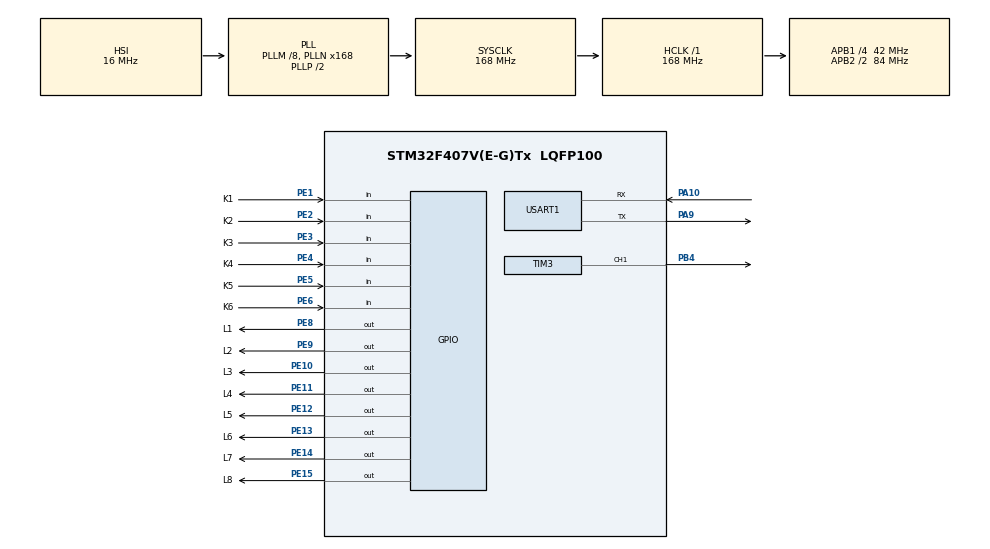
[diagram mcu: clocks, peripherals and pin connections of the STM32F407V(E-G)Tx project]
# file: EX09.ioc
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Mcu.Family=STM32F4
Mcu.Name=STM32F407V(E-G)Tx
Mcu.Package=LQFP100
NVIC.PriorityGroup=NVIC_PRIORITYGROUP_4
NVIC.USART1_IRQn=true\:0\:0\:false\:false\:true\:true\:true
PA10.Mode=Asynchronous
PA10.Signal=USART1_RX
PA13.Mode=Serial_Wire
PA13.Signal=SYS_JTMS-SWDIO
PA14.Mode=Serial_Wire
PA14.Signal=SYS_JTCK-SWCLK
PA9.Mode=Asynchronous
PA9.Signal=USART1_TX
PB4.Signal=S_TIM3_CH1
PE1.GPIO_Label=K1
PE1.Signal=GPIO_Input
PE10.GPIO_Label=L3
PE10.GPIO_ModeDefaultOutputPP=GPIO_MODE_OUTPUT_PP
PE10.GPIO_PuPd=GPIO_NOPULL
PE10.GPIO_Speed=GPIO_SPEED_FREQ_LOW
PE10.PinState=GPIO_PIN_SET
PE10.Signal=GPIO_Output
PE11.GPIO_Label=L4
PE11.GPIO_ModeDefaultOutputPP=GPIO_MODE_OUTPUT_PP
PE11.GPIO_PuPd=GPIO_NOPULL
PE11.GPIO_Speed=GPIO_SPEED_FREQ_LOW
PE11.PinState=GPIO_PIN_SET
PE11.Signal=GPIO_Output
PE12.GPIO_Label=L5
PE12.GPIO_ModeDefaultOutputPP=GPIO_MODE_OUTPUT_PP
PE12.GPIO_PuPd=GPIO_NOPULL
PE12.GPIO_Speed=GPIO_SPEED_FREQ_LOW
PE12.PinState=GPIO_PIN_SET
PE12.Signal=GPIO_Output
PE13.GPIO_Label=L6
PE13.GPIO_ModeDefaultOutputPP=GPIO_MODE_OUTPUT_PP
PE13.GPIO_PuPd=GPIO_NOPULL
PE13.GPIO_Speed=GPIO_SPEED_FREQ_LOW
PE13.PinState=GPIO_PIN_SET
PE13.Signal=GPIO_Output
PE14.GPIO_Label=L7
PE14.GPIO_ModeDefaultOutputPP=GPIO_MODE_OUTPUT_PP
PE14.GPIO_PuPd=GPIO_NOPULL
PE14.GPIO_Speed=GPIO_SPEED_FREQ_LOW
PE14.PinState=GPIO_PIN_SET
PE14.Signal=GPIO_Output
PE15.GPIO_Label=L8
PE15.GPIO_ModeDefaultOutputPP=GPIO_MODE_OUTPUT_PP
PE15.GPIO_PuPd=GPIO_NOPULL
PE15.GPIO_Speed=GPIO_SPEED_FREQ_LOW
PE15.PinState=GPIO_PIN_SET
PE15.Signal=GPIO_Output
PE2.GPIO_Label=K2
PE2.GPIO_PuPd=GPIO_PULLUP
PE2.Signal=GPIO_Input
PE3.GPIO_Label=K3
PE3.GPIO_PuPd=GPIO_PULLUP
PE3.Signal=GPIO_Input
PE4.GPIO_Label=K4
PE4.Signal=GPIO_Input
PE5.GPIO_Label=K5
PE5.GPIO_PuPd=GPIO_PULLDOWN
PE5.Signal=GPIO_Input
PE6.GPIO_Label=K6
PE6.GPIO_PuPd=GPIO_PULLDOWN
PE6.Signal=GPIO_Input
PE8.GPIO_Label=L1
PE8.GPIO_ModeDefaultOutputPP=GPIO_MODE_OUTPUT_PP
PE8.GPIO_PuPd=GPIO_NOPULL
PE8.GPIO_Speed=GPIO_SPEED_FREQ_LOW
PE8.PinState=GPIO_PIN_SET
PE8.Signal=GPIO_Output
PE9.GPIO_Label=L2
PE9.GPIO_ModeDefaultOutputPP=GPIO_MODE_OUTPUT_PP
PE9.GPIO_PuPd=GPIO_NOPULL
PE9.GPIO_Speed=GPIO_SPEED_FREQ_LOW
PE9.PinState=GPIO_PIN_SET
PE9.Signal=GPIO_Output
PH0-OSC_IN.Mode=HSE-External-Oscillator
PH0-OSC_IN.Signal=RCC_OSC_IN
PH1-OSC_OUT.Mode=HSE-External-Oscillator
PH1-OSC_OUT.Signal=RCC_OSC_OUT
ProjectManager.HeapSize=0x200
ProjectManager.StackSize=0x400
ProjectManager.TargetToolchain=MDK-ARM V5.27
RCC.48MHZClocksFreq_Value=84000000
RCC.AHBFreq_Value=168000000
RCC.APB1CLKDivider=RCC_HCLK_DIV4
RCC.APB1Freq_Value=42000000
RCC.APB1TimFreq_Value=84000000
RCC.APB2CLKDivider=RCC_HCLK_DIV2
RCC.APB2Freq_Value=84000000
RCC.APB2TimFreq_Value=168000000
RCC.CortexFreq_Value=168000000
RCC.HCLKFreq_Value=168000000
RCC.HSE_VALUE=25000000
RCC.HSI_VALUE=16000000
RCC.PLLM=8
RCC.PLLN=168
RCC.SYSCLKFreq_VALUE=168000000
RCC.SYSCLKSource=RCC_SYSCLKSOURCE_PLLCLK
RCC.VCOOutputFreq_Value=336000000
SH.S_TIM3_CH1.0=TIM3_CH1,PWM Generation1 CH1
TIM3.AutoReloadPreload=TIM_AUTORELOAD_PRELOAD_DISABLE
TIM3.Channel-PWM\ Generation1\ CH1=TIM_CHANNEL_1
TIM3.Period=2000-1
TIM3.Prescaler=168-1
TIM3.Pulse-PWM\ Generation1\ CH1=1000
USART1.VirtualMode=VM_ASYNC
VP_TIM3_VS_ClockSourceINT.Mode=Internal
board=custom

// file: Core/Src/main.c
/* USER CODE BEGIN Header */
/**
  ******************************************************************************
  * @file           : main.c
  * @brief          : Main program body
  ******************************************************************************
  * @attention
  *
  * Copyright (c) 2021 STMicroelectronics.
  * All rights reserved.
  *
  * This software is licensed under terms that can be found in the LICENSE file
  * in the root directory of this software component.
  * If no LICENSE file comes with this software, it is provided AS-IS.
  *
  ******************************************************************************
  */
/* USER CODE END Header */
#include "main.h"
#include "tim.h"
#include "usart.h"
#include "gpio.h"

/* USER CODE BEGIN Includes */
#include "led.h"
#include "InFlash.h"
/* USER CODE END Includes */

/* USER CODE BEGIN PD */
#include <stdio.h>
int fputc(int ch, FILE *f)
{
	// 向串口 1 发送一个字符
	HAL_UART_Transmit(&huart1, (uint8_t *)&ch, 1, 100);
	return 0;
}

/* USER CODE END PD */

void SystemClock_Config(void);

int main(void)
{

  /* MCU Configuration--------------------------------------------------------*/

  /* Reset of all peripherals, Initializes the Flash interface and the Systick. */
  HAL_Init();

  /* Configure the system clock */
  SystemClock_Config();

  /* Initialize all configured peripherals */
  MX_GPIO_Init();
  MX_TIM3_Init();
  MX_USART1_UART_Init();

  /* Infinite loop */
  /* USER CODE BEGIN WHILE */
	uint8_t sta = 0xaa;
	uint32_t tick = 0;
	uint8_t key = 0;

	printf("start app a\r\n");
  while (1)
  {
    /* USER CODE END WHILE */

    /* USER CODE BEGIN 3 */
		key = Key_scan();

		if(HAL_GetTick()>=tick)
		{
			tick = HAL_GetTick()+50;
			Set_leds(sta);

			sta = ~sta;
		}
		if(key == 5)
		{
			printf("JUMP TO APPB\r\n");
			JumpAPP(ADDR_FLASH_SECTOR_4);
		}

		HAL_Delay(20);
  }
  /* USER CODE END 3 */
}

void SystemClock_Config(void)
{
  RCC_OscInitTypeDef RCC_OscInitStruct = {0};
  RCC_ClkInitTypeDef RCC_ClkInitStruct = {0};

  /** Configure the main internal regulator output voltage
  */
  __HAL_RCC_PWR_CLK_ENABLE();
  __HAL_PWR_VOLTAGESCALING_CONFIG(PWR_REGULATOR_VOLTAGE_SCALE1);
  /** Initializes the RCC Oscillators according to the specified parameters
  * in the RCC_OscInitTypeDef structure.
  */
  RCC_OscInitStruct.OscillatorType = RCC_OSCILLATORTYPE_HSI;
  RCC_OscInitStruct.HSIState = RCC_HSI_ON;
  RCC_OscInitStruct.HSICalibrationValue = RCC_HSICALIBRATION_DEFAULT;
  RCC_OscInitStruct.PLL.PLLState = RCC_PLL_ON;
  RCC_OscInitStruct.PLL.PLLSource = RCC_PLLSOURCE_HSI;
  RCC_OscInitStruct.PLL.PLLM = 8;
  RCC_OscInitStruct.PLL.PLLN = 168;
  RCC_OscInitStruct.PLL.PLLP = RCC_PLLP_DIV2;
  RCC_OscInitStruct.PLL.PLLQ = 4;
  if (HAL_RCC_OscConfig(&RCC_OscInitStruct) != HAL_OK)
  {
    Error_Handler();
  }
  /** Initializes the CPU, AHB and APB buses clocks
  */
  RCC_ClkInitStruct.ClockType = RCC_CLOCKTYPE_HCLK|RCC_CLOCKTYPE_SYSCLK
                              |RCC_CLOCKTYPE_PCLK1|RCC_CLOCKTYPE_PCLK2;
  RCC_ClkInitStruct.SYSCLKSource = RCC_SYSCLKSOURCE_PLLCLK;
  RCC_ClkInitStruct.AHBCLKDivider = RCC_SYSCLK_DIV1;
  RCC_ClkInitStruct.APB1CLKDivider = RCC_HCLK_DIV4;
  RCC_ClkInitStruct.APB2CLKDivider = RCC_HCLK_DIV2;

  if (HAL_RCC_ClockConfig(&RCC_ClkInitStruct, FLASH_LATENCY_5) != HAL_OK)
  {
    Error_Handler();
  }
}

void Error_Handler(void)
{
  __disable_irq();
  while (1)
  {
  }
}
